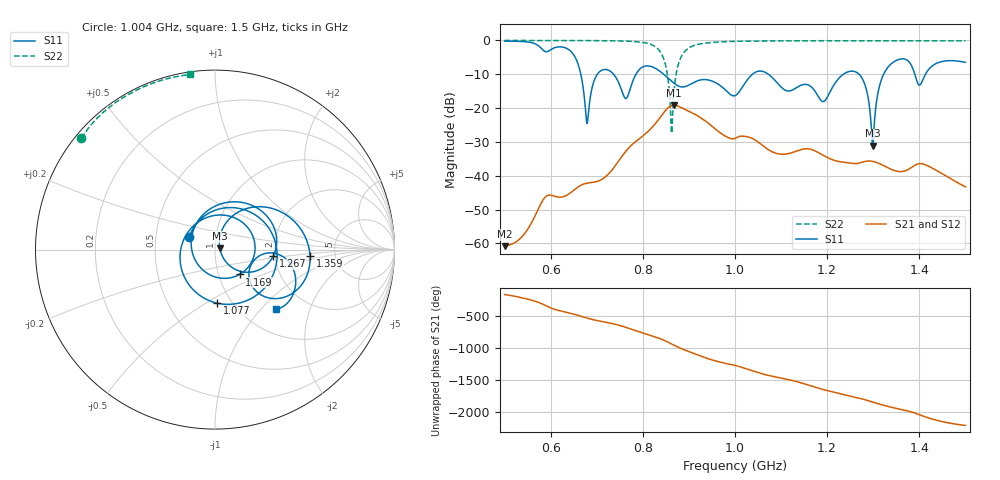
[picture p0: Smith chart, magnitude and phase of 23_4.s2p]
! TOUCHSTONE file generated by CST MICROWAVE STUDIO
! Date and time: Sat Nov 14 20:01:32 2020
! Project name: Scenario_1_Planar_Body_Tissue_Out_of_Line.cst
! Parameters = {dy1=-34.6; L_HA=400; Ltissue=700; MT=2.54; Rad_Dielectric=30; Rad_Lower=7.3; Rad_Upper=30; Wtissue=700; a_HA=580; a_WG=246; b_HA=500; b_WG=121; c_HA=0; c_WG=187; d_feed=85; dx1=693; h_feed=15; h_lower=18; h_upper=40; hfat=3; hgap=25; hmuscle=50; hskin=1.5}
! Header version: 2018
! Port assignment regex: !\s*Touchstone port\s*([0-9]+)\s*=\s*(CST MWS port|CST DS port)\s*([0-9]+|Zmin|Zmax)\s*\(\"(.*)\"\)(\s*mode\s*([0-9]+))?.*
! Touchstone port assignment:
! Touchstone port 1 = CST MWS port 1 ("")
! Touchstone port 2 = CST MWS port 2 ("")
# GHz S DB R 50
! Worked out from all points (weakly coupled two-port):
!   1003 points, 500 MHz to 1.5 GHz, reference 50 ohm
!   highest |S21| = -19.14 dB at 868 MHz (marker M1); lowest = -60.8 dB at 500 MHz (marker M2)
!   lowest |S11| = -31.1 dB at 1.299 GHz (marker M3), VSWR 1.06, Z = 52.8 + j0.766 ohm
!   |S11| at or under -10 dB: 845.4 MHz to 1.038 GHz (192.6 MHz wide, 20.5 % of centre); 1.072 GHz to 1.235 GHz (162.7 MHz wide, 14.1 % of centre); 1.269 GHz to 1.323 GHz (53.34 MHz wide, 4.12 % of centre)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
!   |S22| runs from -27.4 to 0.0 dB; largest |S21 - S12| = 1.2e-05
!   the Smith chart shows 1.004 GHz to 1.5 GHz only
!   S11 on the Smith chart (normalised r, x): 1.004 GHz: 0.74, +0.10; 1.077 GHz: 0.85, -0.56; 1.169 GHz: 1.26, -0.36; 1.267 GHz: 1.95, -0.16; 1.359 GHz: 3.23, -0.32; 1.5 GHz: 1.42, -1.22
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0.5  -0.21 -121.4  -60.84 -169.8  -60.84 -169.8  -0.01 151.2
0.622  -1.90 173.3  -46.33 -65.7  -46.33 -65.7  -0.02 142.4
0.667  -11.07 96.8  -42.73 -150.0  -42.73 -150.0  -0.04 138.5
0.679  -24.57 146.2  -42.21 -176.0  -42.21 -176.0  -0.05 137.3
0.709  -8.95 161.6  -41.24 133.9  -41.24 133.9  -0.07 133.9
0.777  -12.49 -120.7  -30.76 7.1  -30.76 7.1  -0.29 121.9
0.834  -8.81 58.4  -23.41 -125.5  -23.41 -125.5  -2.68 88.9
0.862  -12.00 -29.5  -19.28 144.6  -19.28 144.6  -27.40 -22.2
0.868  -12.67 -51.9  -19.14 122.6  -19.14 122.6  -14.43 -136.5
0.904  -12.90 157.5  -21.23 13.2  -21.23 13.2  -1.90 169.1
0.948  -11.91 9.3  -25.14 -100.0  -25.14 -100.0  -0.63 150.6
1  -16.33 175.1  -28.95 170.3  -28.95 170.3  -0.28 140.8
1.004  -15.99 154.7  -28.68 163.2  -28.68 163.2  -0.27 140.2
1.047  -9.25 -0.7  -29.74 63.7  -29.74 63.7  -0.18 135.2
1.077  -10.50 -87.8  -32.67 7.4  -32.67 7.4  -0.15 132.1
1.167  -13.93 -37.9  -32.30 -154.1  -32.30 -154.1  -0.09 124.5
1.169  -14.21 -45.2  -32.39 -158.7  -32.39 -158.7  -0.09 124.3
1.267  -9.73 -6.6  -36.34 25.3  -36.34 25.3  -0.09 116.8
1.299  -31.09 15.1  -35.76 -40.2  -35.76 -40.2  -0.08 114.4
1.334  -7.59 31.0  -37.83 -110.7  -37.83 -110.7  -0.09 111.7
1.359  -5.50 -3.8  -38.79 -151.4  -38.79 -151.4  -0.09 109.8
1.5  -6.46 -44.2  -43.29 -42.5  -43.29 -42.5  -0.12 98.2
